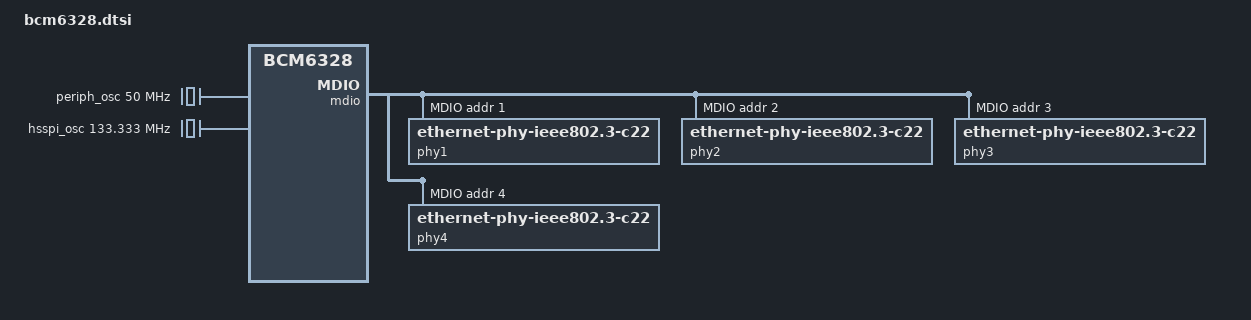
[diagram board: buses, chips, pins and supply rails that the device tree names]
// SPDX-License-Identifier: GPL-2.0-or-later

/dts-v1/;

#include <dt-bindings/clock/bcm6328-clock.h>
#include <dt-bindings/gpio/gpio.h>
#include <dt-bindings/input/input.h>
#include <dt-bindings/interrupt-controller/bcm6328-interrupt-controller.h>
#include <dt-bindings/reset/bcm6328-reset.h>
#include <dt-bindings/soc/bcm6328-pm.h>

/ {
	#address-cells = <1>;
	#size-cells = <1>;
	compatible = "brcm,bcm6328";

	aliases {
		nflash = &nflash;
		pinctrl = &pinctrl;
		serial0 = &uart0;
		serial1 = &uart1;
		spi1 = &hsspi;
	};

	chosen {
		bootargs = "earlycon";
		stdout-path = "serial0:115200n8";
	};

	clocks {
		periph_osc: periph-osc {
			compatible = "fixed-clock";

			#clock-cells = <0>;

			clock-frequency = <50000000>;
			clock-output-names = "periph";
		};

		hsspi_osc: hsspi-osc {
			compatible = "fixed-clock";

			#clock-cells = <0>;

			clock-frequency = <133333333>;
			clock-output-names = "hsspi_osc";
		};
	};

	cpus {
		#address-cells = <1>;
		#size-cells = <0>;
		mips-hpt-frequency = <160000000>;

		cpu@0 {
			compatible = "brcm,bmips4350", "mips,mips4Kc";
			device_type = "cpu";
			reg = <0>;
		};

		cpu@1 {
			compatible = "brcm,bmips4350", "mips,mips4Kc";
			device_type = "cpu";
			reg = <1>;
		};
	};

	cpu_intc: interrupt-controller {
		#address-cells = <0>;
		compatible = "mti,cpu-interrupt-controller";

		interrupt-controller;
		#interrupt-cells = <1>;
	};

	memory@0 {
		device_type = "memory";
		reg = <0 0>;
	};

	ubus {
		#address-cells = <1>;
		#size-cells = <1>;

		compatible = "simple-bus";
		ranges;

		periph_clk: clock-controller@10000004 {
			compatible = "brcm,bcm6328-clocks";
			reg = <0x10000004 0x4>;
			#clock-cells = <1>;
		};

		periph_rst: reset-controller@10000010 {
			compatible = "brcm,bcm6345-reset";
			reg = <0x10000010 0x4>;
			#reset-cells = <1>;
		};

		ext_intc: interrupt-controller@10000018 {
			#address-cells = <1>;
			compatible = "brcm,bcm6345-ext-intc";
			reg = <0x10000018 0x4>;

			interrupt-controller;
			#interrupt-cells = <2>;

			interrupts = <BCM6328_IRQ_EXTO>,
				     <BCM6328_IRQ_EXT1>,
				     <BCM6328_IRQ_EXT2>,
				     <BCM6328_IRQ_EXT3>;
		};

		periph_intc: interrupt-controller@10000020 {
			#address-cells = <1>;
			compatible = "brcm,bcm6345-l1-intc";
			reg = <0x10000020 0x10>,
			      <0x10000030 0x10>;

			interrupt-controller;
			#interrupt-cells = <1>;

			interrupt-parent = <&cpu_intc>;
			interrupts = <2>, <3>;
		};

		wdt: watchdog@1000005c {
			compatible = "brcm,bcm7038-wdt";
			reg = <0x1000005c 0xc>;

			clocks = <&periph_osc>;

			timeout-sec = <30>;
		};

		pll_cntl: syscon@10000068 {
			compatible = "syscon", "simple-mfd";
			reg = <0x10000068 0x4>;
			native-endian;

			syscon-reboot {
				compatible = "syscon-reboot";
				offset = <0>;
				mask = <0x1>;
			};
		};

		gpio_cntl: syscon@10000080 {
			compatible = "brcm,bcm6328-gpio-sysctl",
				     "syscon", "simple-mfd";
			reg = <0x10000080 0x80>;
			ranges = <0 0x10000080 0x80>;
			native-endian;

			gpio: gpio@0 {
				compatible = "brcm,bcm6328-gpio";
				reg-names = "dirout", "dat";
				reg = <0x0 0x8>, <0x8 0x8>;

				gpio-controller;
				gpio-ranges = <&pinctrl 0 0 32>;
				#gpio-cells = <2>;
			};

			pinctrl: pinctrl@18 {
				compatible = "brcm,bcm6328-pinctrl";
				reg = <0x18 0x10>;

				pinctrl_serial_led: serial_led-pins {
					pinctrl_serial_led_data: serial_led_data-pins {
						function = "serial_led_data";
						pins = "gpio6";
					};

					pinctrl_serial_led_clk: serial_led_clk-pins {
						function = "serial_led_clk";
						pins = "gpio7";
					};
				};

				pinctrl_inet_act_led: inet_act_led-pins {
					function = "inet_act_led";
					pins = "gpio11";
				};

				pinctrl_pcie_clkreq: pcie_clkreq-pins {
					function = "pcie_clkreq";
					pins = "gpio16";
				};

				pinctrl_ephy0_spd_led: ephy0_spd_led-pins {
					function = "led";
					pins = "gpio17";
				};

				pinctrl_ephy1_spd_led: ephy1_spd_led-pins {
					function = "led";
					pins = "gpio18";
				};

				pinctrl_ephy2_spd_led: ephy2_spd_led-pins {
					function = "led";
					pins = "gpio19";
				};

				pinctrl_ephy3_spd_led: ephy3_spd_led-pins {
					function = "led";
					pins = "gpio20";
				};

				pinctrl_ephy0_act_led: ephy0_act_led-pins {
					function = "ephy0_act_led";
					pins = "gpio25";
				};

				pinctrl_ephy1_act_led: ephy1_act_led-pins {
					function = "ephy1_act_led";
					pins = "gpio26";
				};

				pinctrl_ephy2_act_led: ephy2_act_led-pins {
					function = "ephy2_act_led";
					pins = "gpio27";
				};

				pinctrl_ephy3_act_led: ephy3_act_led-pins {
					function = "ephy3_act_led";
					pins = "gpio28";
				};

				pinctrl_hsspi_cs1: hsspi_cs1-pins {
					function = "hsspi_cs1";
					pins = "hsspi_cs1";
				};

				pinctrl_usb_port1_device: usb_port1_device-pins {
					function = "usb_device_port";
					pins = "usb_port1";
				};

				pinctrl_usb_port1_host: usb_port1_host-pins {
					function = "usb_host_port";
					pins = "usb_port1";
				};
			};
		};

		uart0: serial@10000100 {
			compatible = "brcm,bcm6345-uart";
			reg = <0x10000100 0x18>;

			interrupt-parent = <&periph_intc>;
			interrupts = <BCM6328_IRQ_UART0>;

			clocks = <&periph_osc>;
			clock-names = "periph";

			status = "disabled";
		};

		uart1: serial@10000120 {
			compatible = "brcm,bcm6345-uart";
			reg = <0x10000120 0x18>;

			interrupt-parent = <&periph_intc>;
			interrupts = <BCM6328_IRQ_UART1>;

			clocks = <&periph_osc>;
			clock-names = "periph";

			status = "disabled";
		};

		nflash: nand@10000200 {
			#address-cells = <1>;
			#size-cells = <0>;
			compatible = "brcm,nand-bcm6368",
				     "brcm,brcmnand-v2.2",
				     "brcm,brcmnand";
			reg = <0x10000200 0x180>,
			      <0x10000400 0x200>,
			      <0x10000070 0x10>;
			reg-names = "nand",
				    "nand-cache",
				    "nand-int-base";

			interrupt-parent = <&periph_intc>;
			interrupts = <BCM6328_IRQ_NAND>;

			status = "disabled";
		};

		leds: led-controller@10000800 {
			#address-cells = <1>;
			#size-cells = <0>;
			compatible = "brcm,bcm6328-leds";
			reg = <0x10000800 0x24>;

			status = "disabled";
		};

		hsspi: spi@10001000 {
			#address-cells = <1>;
			#size-cells = <0>;
			compatible = "brcm,bcm6328-hsspi";
			reg = <0x10001000 0x600>;

			interrupt-parent = <&periph_intc>;
			interrupts = <BCM6328_IRQ_HSSPI>;

			clocks = <&periph_clk BCM6328_CLK_HSSPI>,
				 <&hsspi_osc>;
			clock-names = "hsspi",
				      "pll";

			resets = <&periph_rst BCM6328_RST_SPI>;

			status = "disabled";
		};

		serdes_cntl: syscon@10001800 {
			compatible = "syscon";
			reg = <0x10001800 0x4>;
			native-endian;
		};

		periph_pwr: power-controller@10001848 {
			compatible = "brcm,bcm6328-power-controller";
			reg = <0x10001848 0x4>;

			#power-domain-cells = <1>;
		};

		ehci: usb@10002500 {
			compatible = "brcm,bcm6328-ehci", "generic-ehci";
			reg = <0x10002500 0x100>;
			big-endian;
			spurious-oc;

			interrupt-parent = <&periph_intc>;
			interrupts = <BCM6328_IRQ_EHCI>;

			phys = <&usbh 0>;
			phy-names = "usb";

			status = "disabled";
		};

		ohci: usb@10002600 {
			compatible = "brcm,bcm6328-ohci", "generic-ohci";
			reg = <0x10002600 0x100>;
			big-endian;
			no-big-frame-no;

			interrupt-parent = <&periph_intc>;
			interrupts = <BCM6328_IRQ_OHCI>;

			phys = <&usbh 0>;
			phy-names = "usb";

			status = "disabled";
		};

		usbh: usb-phy@10002700 {
			compatible = "brcm,bcm6328-usbh-phy";
			reg = <0x10002700 0x38>;

			#phy-cells = <1>;

			clocks = <&periph_clk BCM6328_CLK_USBH>;
			clock-names = "usbh";

			power-domains = <&periph_pwr BCM6328_POWER_DOMAIN_USBH>;
			resets = <&periph_rst BCM6328_RST_USBH>;

			status = "disabled";
		};

		ethernet: ethernet@1000d800 {
			compatible = "brcm,bcm6328-enetsw";
			reg = <0x1000d800 0x80>,
			      <0x1000da00 0x80>,
			      <0x1000dc00 0x80>;
			reg-names = "dma",
				    "dma-channels",
				    "dma-sram";

			interrupt-parent = <&periph_intc>;
			interrupts = <BCM6328_IRQ_ENETSW_RX_DMA0>,
				     <BCM6328_IRQ_ENETSW_TX_DMA0>;
			interrupt-names = "rx",
					  "tx";

			clocks = <&periph_clk BCM6328_CLK_ROBOSW>;

			resets = <&periph_rst BCM6328_RST_ENETSW>,
				 <&periph_rst BCM6328_RST_EPHY>;

			power-domains = <&periph_pwr BCM6328_POWER_DOMAIN_ROBOSW>,
					<&periph_pwr BCM6328_POWER_DOMAIN_EPHY>;

			dma-rx = <0>;
			dma-tx = <1>;

			status = "disabled";
		};

		switch0: switch@10e00000 {
			#address-cells = <1>;
			#size-cells = <0>;
			compatible = "brcm,bcm6328-switch";
			reg = <0x10e00000 0x8000>;
			big-endian;

			ports {
				#address-cells = <1>;
				#size-cells = <0>;

				port@8 {
					reg = <8>;
					label = "cpu";

					phy-mode = "internal";
					ethernet = <&ethernet>;

					fixed-link {
						speed = <1000>;
						full-duplex;
					};
				};
			};
		};

		mdio: mdio@10e000b0 {
			#address-cells = <1>;
			#size-cells = <0>;
			compatible = "brcm,bcm6368-mdio-mux";
			reg = <0x10e000b0 0x8>;

			mdio_int: mdio@0 {
				#address-cells = <1>;
				#size-cells = <0>;
				reg = <0>;

				phy1: ethernet-phy@1 {
					compatible = "ethernet-phy-ieee802.3-c22";
					reg = <1>;
				};

				phy2: ethernet-phy@2 {
					compatible = "ethernet-phy-ieee802.3-c22";
					reg = <2>;
				};

				phy3: ethernet-phy@3 {
					compatible = "ethernet-phy-ieee802.3-c22";
					reg = <3>;
				};

				phy4: ethernet-phy@4 {
					compatible = "ethernet-phy-ieee802.3-c22";
					reg = <4>;
				};
			};

			mdio_ext: mdio@1 {
				#address-cells = <1>;
				#size-cells = <0>;
				reg = <1>;
			};
		};

		pcie: pcie@10e40000 {
			compatible = "brcm,bcm6328-pcie";
			reg = <0x10e40000 0x10000>;
			#address-cells = <3>;
			#size-cells = <2>;

			device_type = "pci";
			bus-range = <0x00 0x01>;
			ranges = <0x2000000 0 0x10f00000 0x10f00000 0 0x100000>;
			linux,pci-probe-only = <1>;

			interrupt-parent = <&periph_intc>;
			interrupts = <BCM6328_IRQ_PCIE_RC>;

			clocks = <&periph_clk BCM6328_CLK_PCIE>;
			clock-names = "pcie";

			resets = <&periph_rst BCM6328_RST_PCIE>,
				 <&periph_rst BCM6328_RST_PCIE_EXT>,
				 <&periph_rst BCM6328_RST_PCIE_CORE>,
				 <&periph_rst BCM6328_RST_PCIE_HARD>;
			reset-names = "pcie",
				      "pcie-ext",
				      "pcie-core",
				      "pcie-hard";

			power-domains = <&periph_pwr BCM6328_POWER_DOMAIN_PCIE>;

			brcm,serdes = <&serdes_cntl>;

			status = "disabled";
		};
	};
};
